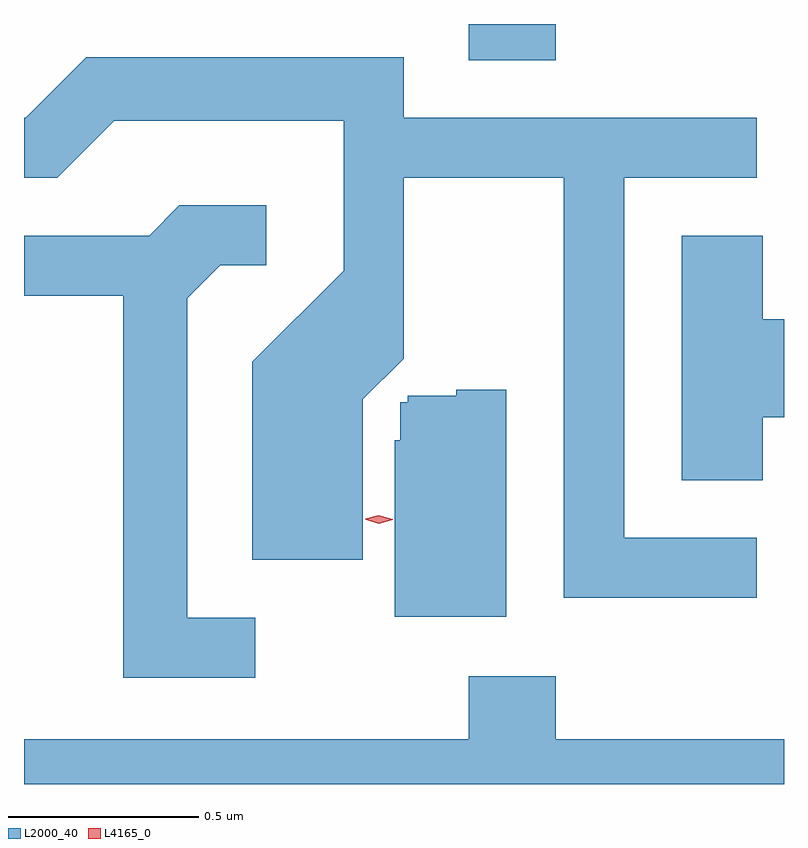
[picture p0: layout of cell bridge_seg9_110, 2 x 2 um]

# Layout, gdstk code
import gdstk
lib = gdstk.Library(unit=1e-6, precision=1e-09)
def R(c, l, rs):  # rectangles x0, y0, x1, y1
    for r in rs: c.add(gdstk.rectangle(r[:2], r[2:], *l))
def P(c, l, *ps):  # polygons
    for p in ps: c.add(gdstk.Polygon(p, *l))
L2000_40 = (2000, 40)
L4165_0 = (4165, 0)

bridge_seg9_110 = lib.new_cell('bridge_seg9_110')
R(bridge_seg9_110, L2000_40, [(1911.911,2011.631,1912.139,2011.726)])
P(bridge_seg9_110, L2000_40, [(1912.668,2010.374),(1912.319,2010.374),(1912.319,2011.321),(1912.668,2011.321),(1912.668,2011.479),(1911.739,2011.479),(1911.739,2011.639),(1910.904,2011.639),(1910.744,2011.479),(1910.74,2011.479),(1910.74,2011.321),(1910.827,2011.321),(1910.977,2011.471),(1911.581,2011.471),(1911.581,2011.077),(1911.341,2010.837),(1911.341,2010.316),(1911.632,2010.316),(1911.632,2010.738),(1911.739,2010.845),(1911.739,2011.321),(1912.161,2011.321),(1912.161,2010.216),(1912.668,2010.216)],
  [(1911.348,2010.164),(1911.169,2010.164),(1911.169,2011.004),(1911.257,2011.091),(1911.378,2011.091),(1911.378,2011.249),(1911.149,2011.249),(1911.069,2011.169),(1910.74,2011.169),(1910.74,2011.011),(1911.001,2011.011),(1911.001,2010.006),(1911.348,2010.006)],
  [(1912.684,2010.691),(1912.74,2010.691),(1912.74,2010.949),(1912.684,2010.949),(1912.684,2011.169),(1912.471,2011.169),(1912.471,2010.526),(1912.684,2010.526)],
  [(1912.009,2010.764),(1911.878,2010.764),(1911.878,2010.748),(1911.75,2010.748),(1911.75,2010.73),(1911.73,2010.73),(1911.73,2010.63),(1911.716,2010.63),(1911.716,2010.166),(1912.009,2010.166)],
  [(1912.74,2009.844),(1912.139,2009.844),(1912.139,2010.009),(1911.911,2010.009),(1911.911,2009.844),(1910.74,2009.844),(1910.74,2009.726),(1912.74,2009.726)])
P(bridge_seg9_110, L4165_0, [(1911.674,2010.411),(1911.64,2010.421),(1911.64,2010.421),(1911.64,2010.422),(1911.674,2010.431),(1911.707,2010.421),(1911.707,2010.421),(1911.707,2010.42)],
  [(1911.674,2010.414),(1911.638,2010.423),(1911.638,2010.424),(1911.638,2010.424),(1911.674,2010.433),(1911.71,2010.423),(1911.71,2010.423),(1911.71,2010.422)])

lib.write_gds('bridge_seg9_110.gds')
